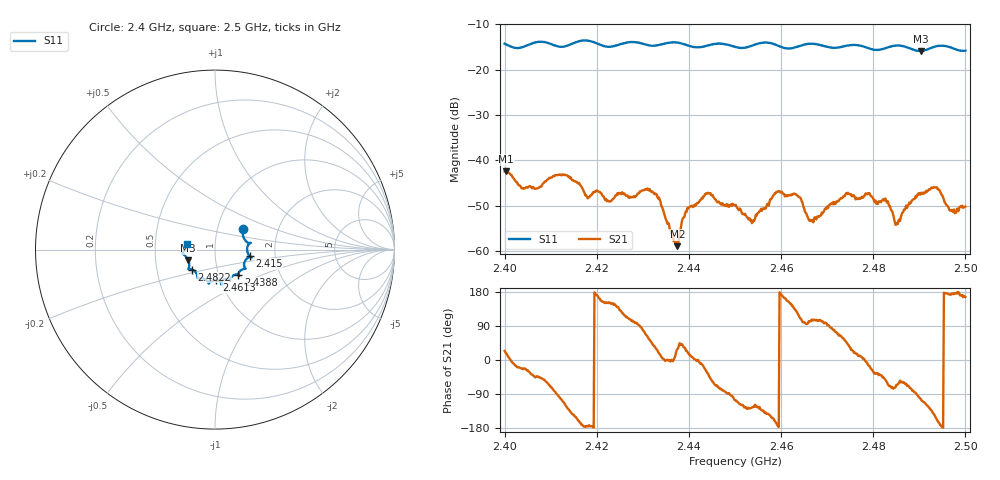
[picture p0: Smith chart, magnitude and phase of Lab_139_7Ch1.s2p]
# Hz S RI R 50
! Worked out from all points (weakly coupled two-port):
!   601 points, 2.4 GHz to 2.5 GHz, reference 50 ohm
!   highest |S21| = -42.43 dB at 2.4003 GHz (marker M1); lowest = -58.9 dB at 2.4375 GHz (marker M2)
!   lowest |S11| = -15.9 dB at 2.4903 GHz (marker M3), VSWR 1.38, Z = 36.8 - j4.44 ohm
!   |S11| at or under -10 dB: start of sweep to end of sweep
!   S12 and S22 are empty: the file has one direction only
!   S11 on the Smith chart (normalised r, x): 2.4 GHz: 1.33, +0.31; 2.415 GHz: 1.47, -0.11; 2.4388 GHz: 1.24, -0.36; 2.4613 GHz: 0.96, -0.34; 2.4822 GHz: 0.76, -0.17; 2.5 GHz: 0.72, +0.05
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2.4e9  0.157 0.1121  0.0069 0.00306  0 0  0 0
2.400333e9  0.1561 0.1078  0.00723 0.00221  0 0  0 0
2.404e9  0.171 0.0483  0.00452 -0.00203  0 0  0 0
2.415e9  0.1927 -0.0359  -0.00488 -0.00347  0 0  0 0
2.416667e9  0.2038 -0.0436  -0.00508 -0.000831  0 0  0 0
2.422667e9  0.165 -0.0682  -0.00312 0.00164  0 0  0 0
2.433333e9  0.1321 -0.1314  0.00356 0.00133  0 0  0 0
2.4375e9  0.1347 -0.1461  0.000999 0.000543  0 0  0 0
2.438833e9  0.1296 -0.1408  0.00195 0.00132  0 0  0 0
2.444e9  0.085 -0.1632  0.00356 -0.00244  0 0  0 0
2.45e9  0.0686 -0.1648  -0.000896 -0.00308  0 0  0 0
2.453833e9  0.0348 -0.1814  -0.00118 -0.00173  0 0  0 0
2.459e9  0.0337 -0.1836  -0.00441 -0.00101  0 0  0 0
2.461333e9  0.0078 -0.1712  -0.0037 0.00161  0 0  0 0
2.463833e9  -0.0257 -0.1795  -0.00184 0.00351  0 0  0 0
2.466667e9  -0.0347 -0.19  -0.000625 0.00205  0 0  0 0
2.4745e9  -0.0905 -0.161  0.00331 0.0029  0 0  0 0
2.482167e9  -0.1279 -0.1112  0.00262 -0.00266  0 0  0 0
2.483333e9  -0.1398 -0.1089  0.00131 -0.00304  0 0  0 0
2.485333e9  -0.1491 -0.1088  0.00086 -0.00179  0 0  0 0
2.490333e9  -0.1495 -0.0588  -0.000985 -0.00427  0 0  0 0
2.5e9  -0.1588 0.0326  -0.00302 0.000734  0 0  0 0
